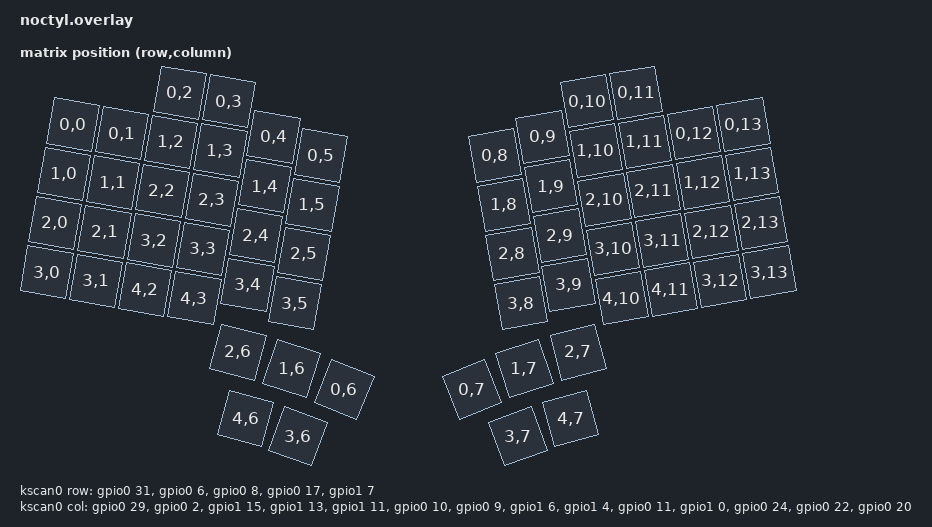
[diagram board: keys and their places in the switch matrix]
#include <dt-bindings/zmk/matrix_transform.h>
#include <physical_layouts.dtsi>

/ {
  chosen {
    zmk,kscan = &kscan0;
    zmk,physical-layout = &default_layout;
  };
};



/ {
  default_layout: default_layout {
    compatible = "zmk,physical-layout";
    display-name = "Default Layout";
    transform = <&default_transform>;
    kscan = <&kscan0>;

    keys  //                     w   h    x    y     rot    rx    ry
        = <&key_physical_attrs 100 100    0  205    1000   800    70>
        , <&key_physical_attrs 100 100  100  205    1000   800    70>
        , <&key_physical_attrs 100 100  200  105    1000   800    70>
        , <&key_physical_attrs 100 100  300  105    1000   800    70>
        , <&key_physical_attrs 100 100  400  160    1000   800    70>
        , <&key_physical_attrs 100 100  500  180    1000   800    70>
        , <&key_physical_attrs 100 100  800  180 (-1000)   600    70>
        , <&key_physical_attrs 100 100  900  160 (-1000)   600    70>
        , <&key_physical_attrs 100 100 1000  105 (-1000)   600    70>
        , <&key_physical_attrs 100 100 1100  105 (-1000)   600    70>
        , <&key_physical_attrs 100 100 1200  205 (-1000)   600    70>
        , <&key_physical_attrs 100 100 1300  205 (-1000)   600    70>
        , <&key_physical_attrs 100 100    0  305    1000   800    70>
        , <&key_physical_attrs 100 100  100  305    1000   800    70>
        , <&key_physical_attrs 100 100  200  205    1000   800    70>
        , <&key_physical_attrs 100 100  300  205    1000   800    70>
        , <&key_physical_attrs 100 100  400  260    1000   800    70>
        , <&key_physical_attrs 100 100  500  280    1000   800    70>
        , <&key_physical_attrs 100 100  800  280 (-1000)   600    70>
        , <&key_physical_attrs 100 100  900  260 (-1000)   600    70>
        , <&key_physical_attrs 100 100 1000  205 (-1000)   600    70>
        , <&key_physical_attrs 100 100 1100  205 (-1000)   600    70>
        , <&key_physical_attrs 100 100 1200  305 (-1000)   600    70>
        , <&key_physical_attrs 100 100 1300  305 (-1000)   600    70>
        , <&key_physical_attrs 100 100    0  405    1000   800    70>
        , <&key_physical_attrs 100 100  100  405    1000   800    70>
        , <&key_physical_attrs 100 100  200  305    1000   800    70>
        , <&key_physical_attrs 100 100  300  305    1000   800    70>
        , <&key_physical_attrs 100 100  400  360    1000   800    70>
        , <&key_physical_attrs 100 100  500  380    1000   800    70>
        , <&key_physical_attrs 100 100  800  380 (-1000)   600    70>
        , <&key_physical_attrs 100 100  900  360 (-1000)   600    70>
        , <&key_physical_attrs 100 100 1000  305 (-1000)   600    70>
        , <&key_physical_attrs 100 100 1100  305 (-1000)   600    70>
        , <&key_physical_attrs 100 100 1200  405 (-1000)   600    70>
        , <&key_physical_attrs 100 100 1300  405 (-1000)   600    70>
        , <&key_physical_attrs 100 100    0  505    1000   800    70>
        , <&key_physical_attrs 100 100  100  505    1000   800    70>
        , <&key_physical_attrs 100 100  200  405    1000   800    70>
        , <&key_physical_attrs 100 100  300  405    1000   800    70>
        , <&key_physical_attrs 100 100  400  460    1000   800    70>
        , <&key_physical_attrs 100 100  500  480    1000   800    70>
        , <&key_physical_attrs 100 100  800  480 (-1000)   600    70>
        , <&key_physical_attrs 100 100  900  460 (-1000)   600    70>
        , <&key_physical_attrs 100 100 1000  405 (-1000)   600    70>
        , <&key_physical_attrs 100 100 1100  405 (-1000)   600    70>
        , <&key_physical_attrs 100 100 1200  505 (-1000)   600    70>
        , <&key_physical_attrs 100 100 1300  505 (-1000)   600    70>
        , <&key_physical_attrs 100 100  200  505    1000   800    70>
        , <&key_physical_attrs 100 100  300  505    1000   800    70>
        , <&key_physical_attrs 100 100 1000  505 (-1000)   600    70>
        , <&key_physical_attrs 100 100 1100  505 (-1000)   600    70>
        , <&key_physical_attrs 100 100  400  605    1500   700   273>
        , <&key_physical_attrs 100 100  500  605    1800   650   373>
        , <&key_physical_attrs 100 100  600  605    2200   620   453>
        , <&key_physical_attrs 100 100  700  605 (-2200)   780   453>
        , <&key_physical_attrs 100 100  800  605 (-1800)   750   373>
        , <&key_physical_attrs 100 100  900  605 (-1500)   700   273>
        , <&key_physical_attrs 100 100  500  715    1500   670    73>
        , <&key_physical_attrs 100 100  600  715    2000   620   273>
        , <&key_physical_attrs 100 100  700  715 (-2000)   780   273>
        , <&key_physical_attrs 100 100  800  715 (-1500)   730    73>
        ;
  };
};



/ {
  kscan0: kscan0 {
      compatible = "zmk,kscan-gpio-matrix";
      diode-direction = "col2row";
      wakeup-source;

      col-gpios
          = <&gpio0 29 GPIO_ACTIVE_HIGH> //N
          , <&gpio0 2  GPIO_ACTIVE_HIGH> //M
          , <&gpio1 15 GPIO_ACTIVE_HIGH> //L
          , <&gpio1 13 GPIO_ACTIVE_HIGH> //K
          , <&gpio1 11 GPIO_ACTIVE_HIGH> //J
          , <&gpio0 10 GPIO_ACTIVE_HIGH> //I
          , <&gpio0 9  GPIO_ACTIVE_HIGH> //H
          , <&gpio1 6  GPIO_ACTIVE_HIGH> //G
          , <&gpio1 4  GPIO_ACTIVE_HIGH> //F
          , <&gpio0 11 GPIO_ACTIVE_HIGH> //E
          , <&gpio1 0  GPIO_ACTIVE_HIGH> //D
          , <&gpio0 24 GPIO_ACTIVE_HIGH> //C
          , <&gpio0 22 GPIO_ACTIVE_HIGH> //B
          , <&gpio0 20 GPIO_ACTIVE_HIGH> //A
          ;

      row-gpios
          = <&gpio0 31 (GPIO_ACTIVE_HIGH | GPIO_PULL_DOWN)> //1
          , <&gpio0 6  (GPIO_ACTIVE_HIGH | GPIO_PULL_DOWN)> //2
          , <&gpio0 8  (GPIO_ACTIVE_HIGH | GPIO_PULL_DOWN)> //3
          , <&gpio0 17 (GPIO_ACTIVE_HIGH | GPIO_PULL_DOWN)> //4
          , <&gpio1 7  (GPIO_ACTIVE_HIGH | GPIO_PULL_DOWN)> //5
          ;
  };
};


/ {
  default_transform: keymap_transform0 {
      compatible = "zmk,matrix-transform";
      columns = <14>; // Length of the "col-gpios" array
      rows = <5>; // Length of the "row-gpios" array
      // (row, column)
      map = <
          RC(0,0) RC(0,1) RC(0,2) RC(0,3) RC(0,4) RC(0,5)                     RC(0,8) RC(0,9) RC(0,10) RC(0,11) RC(0,12) RC(0,13)
          RC(1,0) RC(1,1) RC(1,2) RC(1,3) RC(1,4) RC(1,5)                     RC(1,8) RC(1,9) RC(1,10) RC(1,11) RC(1,12) RC(1,13)
          RC(2,0) RC(2,1) RC(2,2) RC(2,3) RC(2,4) RC(2,5)                     RC(2,8) RC(2,9) RC(2,10) RC(2,11) RC(2,12) RC(2,13)
          RC(3,0) RC(3,1) RC(3,2) RC(3,3) RC(3,4) RC(3,5)                     RC(3,8) RC(3,9) RC(3,10) RC(3,11) RC(3,12) RC(3,13)
                          RC(4,2) RC(4,3)                                                     RC(4,10) RC(4,11)
                                          RC(2,6) RC(1,6) RC(0,6)     RC(0,7) RC(1,7) RC(2,7)
                                          RC(4,6) RC(3,6)                     RC(3,7) RC(4,7)
      >;
  };
};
